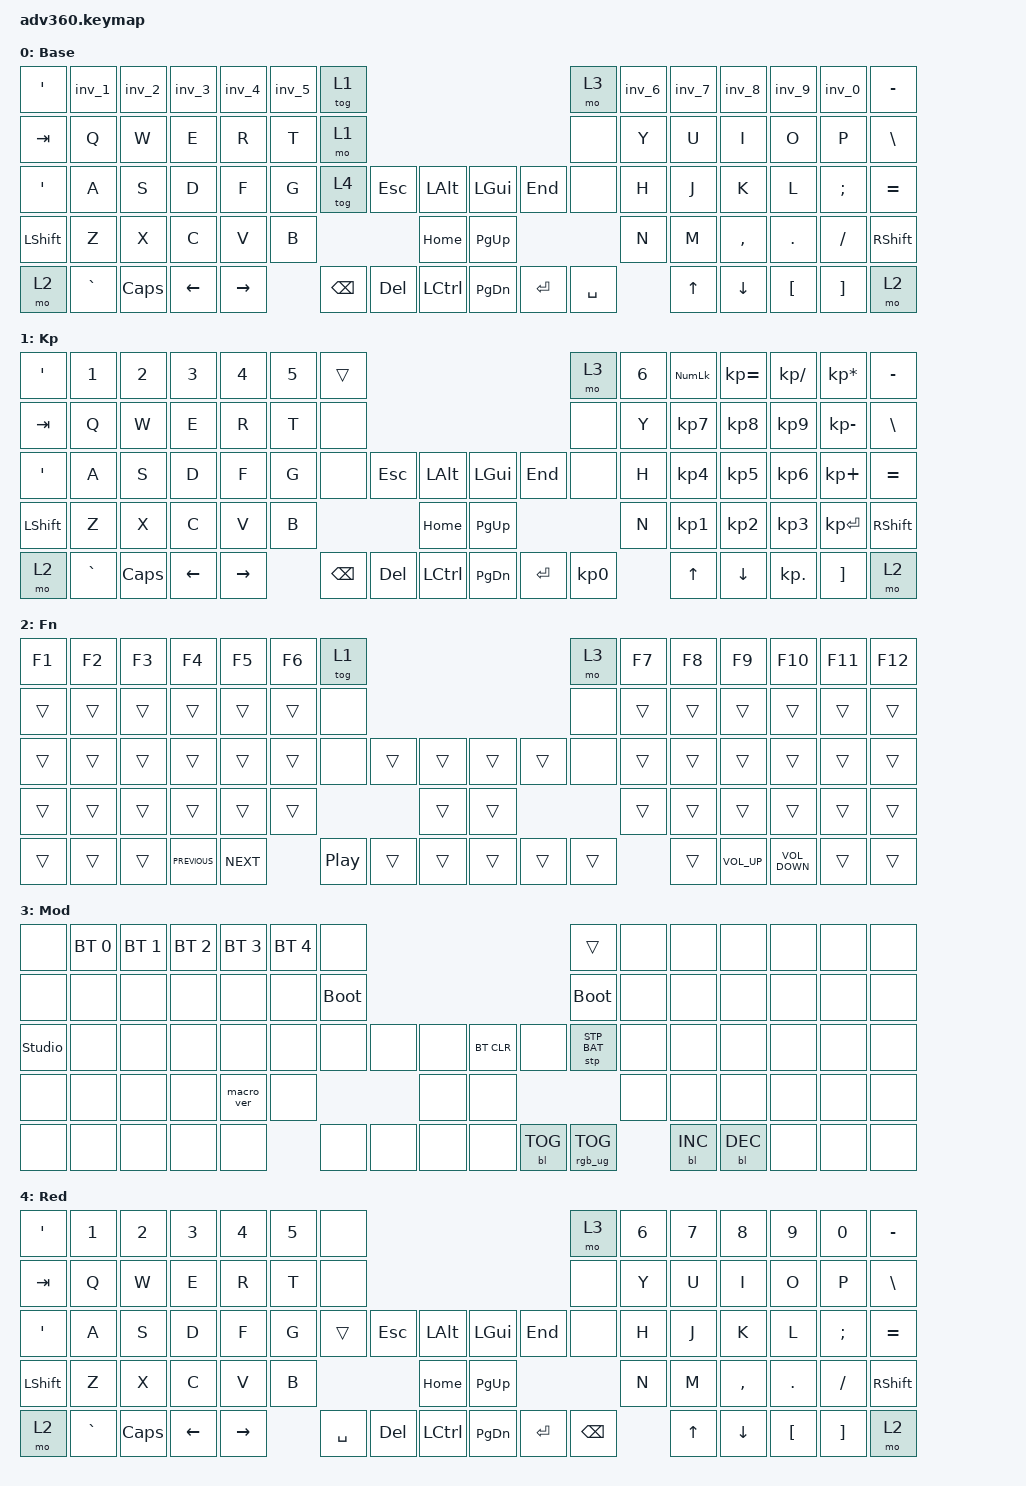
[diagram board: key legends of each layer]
#include <dt-bindings/zmk/stp.h>
#include <behaviors.dtsi>
#include <dt-bindings/zmk/backlight.h>
#include <dt-bindings/zmk/bt.h>
#include <dt-bindings/zmk/keys.h>
#include <dt-bindings/zmk/rgb.h>

/ {
    behaviors {
        #include "macros.dtsi"
        #include "version.dtsi"

        hm: homerow_mods {
            compatible = "zmk,behavior-hold-tap";
            label = "HOMEROW_MODS";
            #binding-cells = <2>;
            tapping-term-ms = <200>;
            quick_tap_ms = <175>;
            flavor = "tap-preferred";
            bindings = <&kp>, <&kp>;
        };

        inv_1: invert_1 {
            compatible = "zmk,behavior-mod-morph";
            #binding-cells = <0>;
            bindings = <&kp EXCL>, <&kp N1>;

            mods = <(MOD_LSFT|MOD_RSFT)>;
        };

        inv_2: invert_2 {
            compatible = "zmk,behavior-mod-morph";
            #binding-cells = <0>;
            bindings = <&kp AT>, <&kp N2>;

            mods = <(MOD_LSFT|MOD_RSFT)>;
        };

        inv_3: invert_3 {
            compatible = "zmk,behavior-mod-morph";
            #binding-cells = <0>;
            bindings = <&kp HASH>, <&kp N3>;

            mods = <(MOD_LSFT|MOD_RSFT)>;
        };

        inv_4: invert_4 {
            compatible = "zmk,behavior-mod-morph";
            #binding-cells = <0>;
            bindings = <&kp DOLLAR>, <&kp N4>;

            mods = <(MOD_LSFT|MOD_RSFT)>;
        };

        inv_5: invert_5 {
            compatible = "zmk,behavior-mod-morph";
            #binding-cells = <0>;
            bindings = <&kp PERCENT>, <&kp N5>;

            mods = <(MOD_LSFT|MOD_RSFT)>;
        };

        inv_6: invert_6 {
            compatible = "zmk,behavior-mod-morph";
            #binding-cells = <0>;
            bindings = <&kp CARET>, <&kp N6>;

            mods = <(MOD_LSFT|MOD_RSFT)>;
        };

        inv_7: invert_7 {
            compatible = "zmk,behavior-mod-morph";
            #binding-cells = <0>;
            bindings = <&kp AMPERSAND>, <&kp N7>;

            mods = <(MOD_LSFT|MOD_RSFT)>;
        };

        inv_8: invert_8 {
            compatible = "zmk,behavior-mod-morph";
            #binding-cells = <0>;
            bindings = <&kp STAR>, <&kp N8>;

            mods = <(MOD_LSFT|MOD_RSFT)>;
        };

        inv_9: invert_9 {
            compatible = "zmk,behavior-mod-morph";
            #binding-cells = <0>;
            bindings = <&kp LPAR>, <&kp N9>;

            mods = <(MOD_LSFT|MOD_RSFT)>;
        };

        inv_0: invert_0 {
            compatible = "zmk,behavior-mod-morph";
            #binding-cells = <0>;
            bindings = <&kp RPAR>, <&kp N0>;

            mods = <(MOD_LSFT|MOD_RSFT)>;
        };
    };

    keymap {
        compatible = "zmk,keymap";

        default_layer {
            display-name = "Base";
            bindings = <
&kp SQT    &inv_1     &inv_2    &inv_3    &inv_4     &inv_5  &tog 1                                                     &mo 3      &inv_6  &inv_7  &inv_8     &inv_9    &inv_0    &kp MINUS
&kp TAB    &kp Q      &kp W     &kp E     &kp R      &kp T   &mo 1                                                      &none      &kp Y   &kp U   &kp I      &kp O     &kp P     &kp BSLH
&kp SQT    &kp A      &kp S     &kp D     &kp F      &kp G   &tog 4    &kp ESCAPE  &kp LALT       &kp LGUI   &kp END    &none      &kp H   &kp J   &kp K      &kp L     &kp SEMI  &kp EQUAL
&kp LSHFT  &kp Z      &kp X     &kp C     &kp V      &kp B                         &kp HOME       &kp PG_UP                        &kp N   &kp M   &kp COMMA  &kp DOT   &kp FSLH  &kp RSHFT
&mo 2      &kp GRAVE  &kp CAPS  &kp LEFT  &kp RIGHT          &kp BSPC  &kp DEL     &kp LCTRL      &kp PG_DN  &kp ENTER  &kp SPACE          &kp UP  &kp DOWN   &kp LBKT  &kp RBKT  &mo 2
            >;
        };

        keypad {
            display-name = "Kp";
            bindings = <
&kp SQT    &kp N1     &kp N2    &kp N3    &kp N4     &kp N5  &trans                                                     &mo 3      &kp N6  &kp KP_NUM  &kp KP_EQUAL  &kp KP_DIVIDE  &kp KP_MULTIPLY  &kp MINUS
&kp TAB    &kp Q      &kp W     &kp E     &kp R      &kp T   &none                                                      &none      &kp Y   &kp KP_N7   &kp KP_N8     &kp KP_N9      &kp KP_MINUS     &kp BSLH
&kp SQT    &kp A      &kp S     &kp D     &kp F      &kp G   &none     &kp ESCAPE  &kp LALT       &kp LGUI   &kp END    &none      &kp H   &kp KP_N4   &kp KP_N5     &kp KP_N6      &kp KP_PLUS      &kp EQUAL
&kp LSHFT  &kp Z      &kp X     &kp C     &kp V      &kp B                         &kp HOME       &kp PG_UP                        &kp N   &kp KP_N1   &kp KP_N2     &kp KP_N3      &kp KP_ENTER     &kp RSHFT
&mo 2      &kp GRAVE  &kp CAPS  &kp LEFT  &kp RIGHT          &kp BSPC  &kp DEL     &kp LCTRL      &kp PG_DN  &kp ENTER  &kp KP_N0          &kp UP      &kp DOWN      &kp KP_DOT     &kp RBKT         &mo 2
            >;
        };

        fn {
            display-name = "Fn";
            bindings = <
&kp F1  &kp F2  &kp F3  &kp F4          &kp F5      &kp F6  &tog 1                                                &mo 3   &kp F7  &kp F8  &kp F9           &kp F10            &kp F11  &kp F12
&trans  &trans  &trans  &trans          &trans      &trans  &none                                                 &none   &trans  &trans  &trans           &trans             &trans   &trans
&trans  &trans  &trans  &trans          &trans      &trans  &none             &trans  &trans      &trans  &trans  &none   &trans  &trans  &trans           &trans             &trans   &trans
&trans  &trans  &trans  &trans          &trans      &trans                            &trans      &trans                  &trans  &trans  &trans           &trans             &trans   &trans
&trans  &trans  &trans  &kp C_PREVIOUS  &kp C_NEXT          &kp C_PLAY_PAUSE  &trans  &trans      &trans  &trans  &trans          &trans  &kp C_VOLUME_UP  &kp C_VOLUME_DOWN  &trans   &trans
            >;
        };

        mod {
            display-name = "Mod";
            bindings = <
&none           &bt BT_SEL 0  &bt BT_SEL 1  &bt BT_SEL 2  &bt BT_SEL 3  &bt BT_SEL 4  &none                                                  &trans           &none  &none       &none       &none  &none  &none
&none           &none         &none         &none         &none         &none         &bootloader                                            &bootloader      &none  &none       &none       &none  &none  &none
&studio_unlock  &none         &none         &none         &none         &none         &none        &none  &none      &bt BT_CLR  &none       &stp STP_BAT     &none  &none       &none       &none  &none  &none
&none           &none         &none         &none         &macro_ver    &none                             &none      &none                                    &none  &none       &none       &none  &none  &none
&none           &none         &none         &none         &none                       &none        &none  &none      &none       &bl BL_TOG  &rgb_ug RGB_TOG         &bl BL_INC  &bl BL_DEC  &none  &none  &none
            >;
        };

        gaming {
            display-name = "Red";
            bindings = <
&kp SQT    &kp N1     &kp N2    &kp N3    &kp N4     &kp N5  &none                                                       &mo 3          &kp N6  &kp N7  &kp N8     &kp N9    &kp N0    &kp MINUS
&kp TAB    &kp Q      &kp W     &kp E     &kp R      &kp T   &none                                                       &none          &kp Y   &kp U   &kp I      &kp O     &kp P     &kp BSLH
&kp SQT    &kp A      &kp S     &kp D     &kp F      &kp G   &trans     &kp ESCAPE  &kp LALT       &kp LGUI   &kp END    &none          &kp H   &kp J   &kp K      &kp L     &kp SEMI  &kp EQUAL
&kp LSHFT  &kp Z      &kp X     &kp C     &kp V      &kp B                          &kp HOME       &kp PG_UP                            &kp N   &kp M   &kp COMMA  &kp DOT   &kp FSLH  &kp RSHFT
&mo 2      &kp GRAVE  &kp CAPS  &kp LEFT  &kp RIGHT          &kp SPACE  &kp DEL     &kp LCTRL      &kp PG_DN  &kp ENTER  &kp BACKSPACE          &kp UP  &kp DOWN   &kp LBKT  &kp RBKT  &mo 2
            >;
        };

        extra2 {
            display-name = "Purple";
            status = "reserved";
        };

        extra3 {
            display-name = "Cyan";
            status = "reserved";
        };

        extra4 {
            display-name = "Yellow";
            status = "reserved";
        };
    };
};
